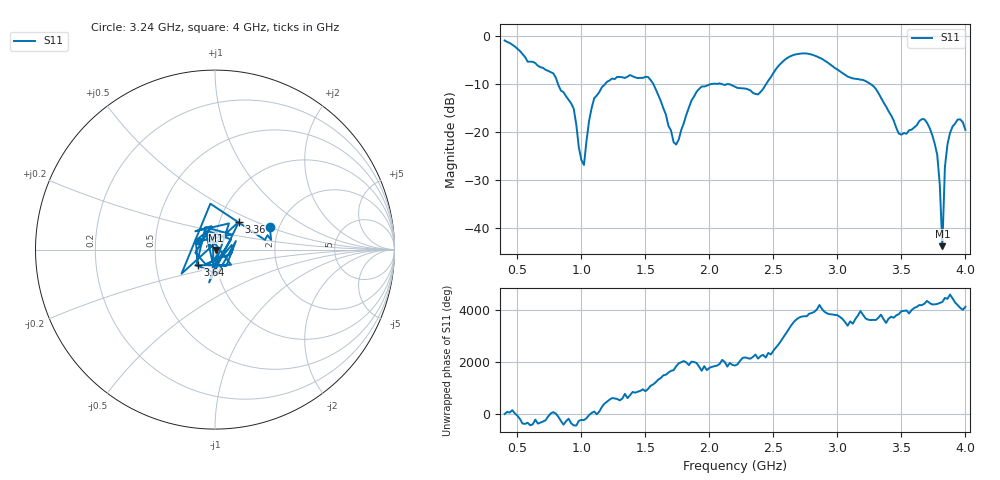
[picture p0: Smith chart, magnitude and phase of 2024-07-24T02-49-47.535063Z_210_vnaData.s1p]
!Created with skrf (http://scikit-rf.org).
# Hz S RI R 50.0
!freq ReS11 ImS11
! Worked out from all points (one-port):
!   181 points, 400 MHz to 4 GHz, reference 50 ohm
!   lowest |S11| = -43.8 dB at 3.82 GHz (marker M1), VSWR 1.01, Z = 50.6 - j0.19 ohm
!   |S11| at or under -10 dB: 817.9 MHz to 1.184 GHz (365.7 MHz wide, 36.5 % of centre); 1.563 GHz to 2.007 GHz (444 MHz wide, 24.9 % of centre); 3.261 GHz to end of sweep (the widest 3 of 5)
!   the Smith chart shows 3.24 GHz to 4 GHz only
!   S11 on the Smith chart (normalised r, x): 3.24 GHz: 1.79, +0.50; 3.36 GHz: 1.24, +0.40; 3.64 GHz: 0.81, -0.14; 4 GHz: 0.82, +0.08
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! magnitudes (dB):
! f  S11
! 400 MHz  -0.8
! 860 MHz  -11.7
! 940 MHz  -15.1
! 1.02 GHz  -26.9
! 1.06 GHz  -17.6
! 1.1 GHz  -12.9
! 1.3 GHz  -8.5
! 1.52 GHz  -8.5
! 1.72 GHz  -22.1
! 1.76 GHz  -21.6
! 1.92 GHz  -11.0
! 2.2 GHz  -10.5
! 2.38 GHz  -12.1
! 2.66 GHz  -3.9
! 3.1 GHz  -8.6
! 3.24 GHz  -9.6
! 3.36 GHz  -13.7
! 3.48 GHz  -20.3
! 3.56 GHz  -19.6
! 3.64 GHz  -17.7
! 3.7 GHz  -18.0
! 3.78 GHz  -24.8
! 3.8 GHz  -31.0
! 3.82 GHz  -43.8
! 3.84 GHz  -27.3
! 3.86 GHz  -22.6
! 3.94 GHz  -17.4
! 4 GHz  -19.5
